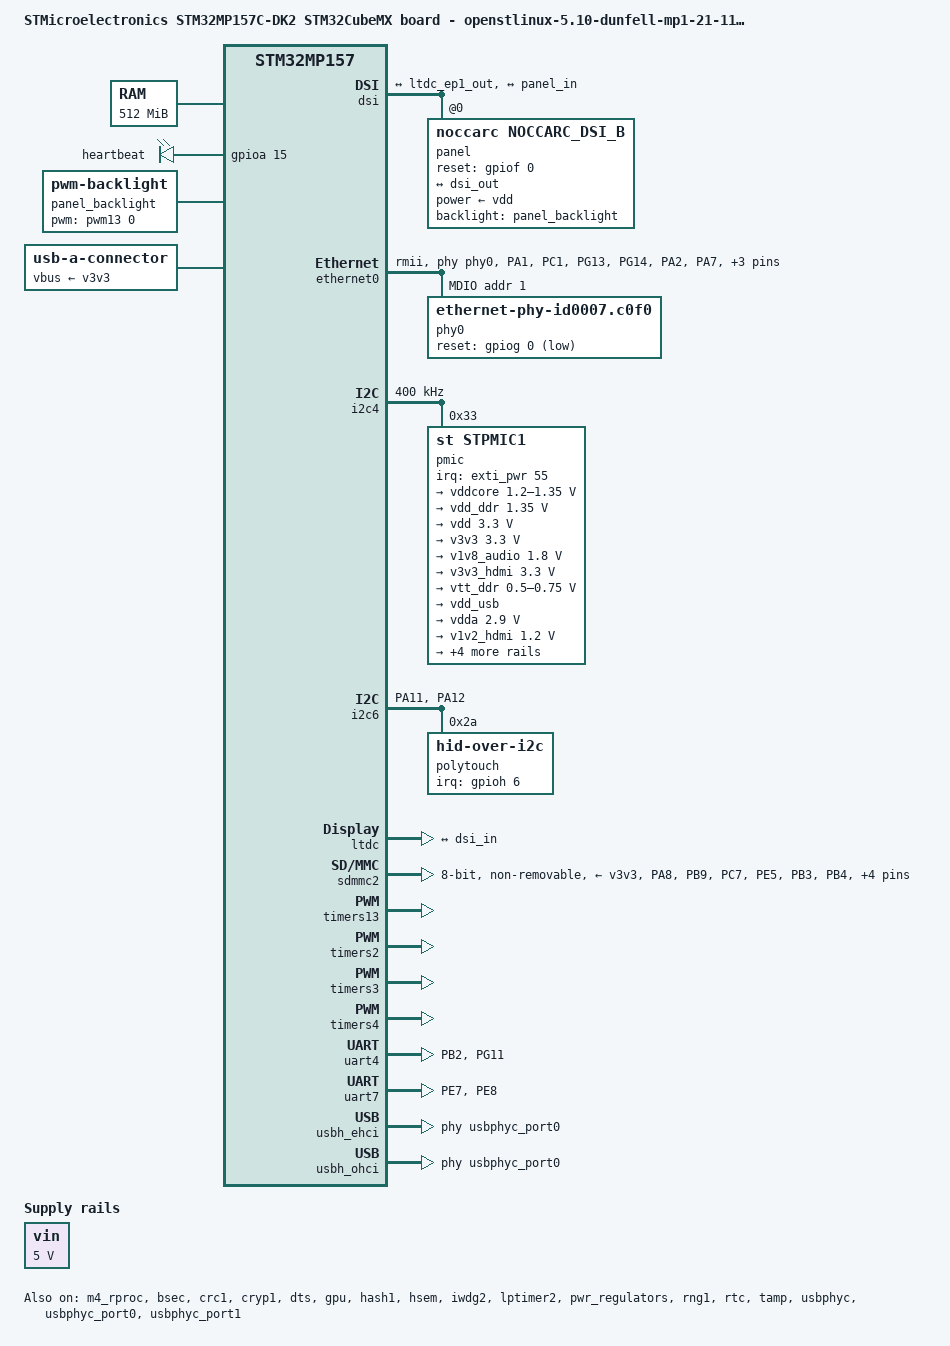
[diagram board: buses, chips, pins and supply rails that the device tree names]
/* SPDX-License-Identifier: (GPL-2.0+ OR BSD-3-Clause) */
/*
 * Copyright (C) STMicroelectronics 2022 - All Rights Reserved
 * Author: STM32CubeMX code generation for STMicroelectronics.
 */

/* For more information on Device Tree configuration, please refer to
 * https://wiki.st.com/stm32mpu/wiki/Category:Device_tree_configuration
 */

/dts-v1/;
#include <dt-bindings/pinctrl/stm32-pinfunc.h>

#include "stm32mp157.dtsi"
#include "stm32mp15xc.dtsi"
#include "stm32mp15xxac-pinctrl.dtsi"
#include "stm32mp15-m4-srm.dtsi"

/* USER CODE BEGIN includes */
#include <dt-bindings/gpio/gpio.h>
#include <dt-bindings/mfd/st,stpmic1.h>
#include <dt-bindings/rtc/rtc-stm32.h>
/* USER CODE END includes */

/ {
	model = "STMicroelectronics STM32MP157C-DK2 STM32CubeMX board - openstlinux-5.10-dunfell-mp1-21-11-17";
	compatible = "st,stm32mp157c-dk2", "st,stm32mp157c-v510_test-mx", "st,stm32mp157";

	memory@c0000000 {
		device_type = "memory";
		reg = <0xc0000000 0x20000000>;

		/* USER CODE BEGIN memory */
		/* USER CODE END memory */
	};

	reserved-memory {
		#address-cells = <1>;
		#size-cells = <1>;
		ranges;

		/* USER CODE BEGIN reserved-memory */

		mcuram2:mcuram2@10000000{
			compatible = "shared-dma-pool";
			reg = <0x10000000 0x40000>;
			no-map;
		};

		vdev0vring0:vdev0vring0@10040000{
			compatible = "shared-dma-pool";
			reg = <0x10040000 0x1000>;
			no-map;
		};

		vdev0vring1:vdev0vring1@10041000{
			compatible = "shared-dma-pool";
			reg = <0x10041000 0x1000>;
			no-map;
		};

		vdev0buffer:vdev0buffer@10042000{
			compatible = "shared-dma-pool";
			reg = <0x10042000 0x4000>;
			no-map;
		};

		mcu_rsc_table:mcu_rsc_table@10048000{
			compatible = "shared-dma-pool";
			reg = <0x10048000 0x8000>;
			no-map;
		};

		mcuram:mcuram@30000000{
			compatible = "shared-dma-pool";
			reg = <0x30000000 0x40000>;
			no-map;
		};

		retram:retram@38000000{
			compatible = "shared-dma-pool";
			reg = <0x38000000 0x10000>;
			no-map;
		};

		gpu_reserved:gpu@d4000000{
			reg = <0xd4000000 0x4000000>;
			no-map;
		};
		/* USER CODE END reserved-memory */
	};

	/* USER CODE BEGIN root */

	aliases{
		ethernet0 = &ethernet0;
		serial0 = &uart4;
		serial1 = &uart5;
		serial2 = &uart7;
	};

	led{
		compatible = "gpio-leds";

		led-blue{
			label = "heartbeat";
			gpios = <&gpioa 15 GPIO_ACTIVE_HIGH>;
			linux,default-trigger = "heartbeat";
			default-state = "on";
		};
	};
	
	panel_backlight: panel-backlight {
		compatible = "pwm-backlight";
		pwms = <&pwm13 0 500000>;	//2KHz backlit frequency
		brightness-levels = <0 1 2 3 4 5 6 7 8 9 10 11 12 13 14 15 16 17 18 19 20 21 22 23 24 25 26 27 28 29 30 31 32 33 34 35 36 37 38 39 40 41 42 43 44 45 46 47 48 49 50 51 52 53 54 55 56 57 58 59 60 61 62 63 64 65 66 67 68 69 70 71 72 73 74 75 76 77 78 79 80 81 82 83 84 85 86 87 88 89 90 91 92 93 94 95 96 97 98 99 100 101 102 103 104 105 106 107 108 109 110 111 112 113 114 115 116 117 118 119 120 121 122 123 124 125 126 127 128 129 130 131 132 133 134 135 136 137 138 139 140 141 142 143 144 145 146 147 148 149 150 151 152 153 154 155 156 157 158 159 160 161 162 163 164 165 166 167 168 169 170 171 172 173 174 175 176 177 178 179 180 181 182 183 184 185 186 187 188 189 190 191 192 193 194 195 196 197 198 199 200 201 202 203 204 205 206 207 208 209 210 211 212 213 214 215 216 217 218 219 220 221 222 223 224 225 226 227 228 229 230 231 232 233 234 235 236 237 238 239 240 241 242 243 244 245 246 247 248 249 250 251 252 253 254 255>;
		default-brightness-level = <250>;
		status = "okay";
	};

	usb_phy_tuning:usb-phy-tuning{
		st,hs-dc-level = <2>;
		st,fs-rftime-tuning;
		st,hs-rftime-reduction;
		st,hs-current-trim = <15>;
		st,hs-impedance-trim = <1>;
		st,squelch-level = <3>;
		st,hs-rx-offset = <2>;
		st,no-lsfs-sc;
	};

	vin:vin{
		compatible = "regulator-fixed";
		regulator-name = "vin";
		regulator-min-microvolt = <5000000>;
		regulator-max-microvolt = <5000000>;
		regulator-always-on;
	};

	chosen{
		stdout-path = "serial0:115200n8";
	};

	/* USER CODE END root */

	clocks {
		/* USER CODE BEGIN clocks */
		/* USER CODE END clocks */

#ifndef CONFIG_TFABOOT
		clk_lsi: clk-lsi {
			clock-frequency = <32000>;
		};
		clk_hsi: clk-hsi {
			clock-frequency = <64000000>;
		};
		clk_csi: clk-csi {
			clock-frequency = <4000000>;
		};
		clk_lse: clk-lse {
			clock-frequency = <32768>;
		};
		clk_hse: clk-hse {
			clock-frequency = <24000000>;
		};
#endif	/*CONFIG_TFABOOT*/
	};

}; /*root*/

&pinctrl {
	u-boot,dm-pre-reloc;

	dcmi_pins_mx: dcmi_mx-0 {
		pins {
			pinmux = <STM32_PINMUX('C', 2, AF13)>, /* DCMI_PIXCLK */
					 <STM32_PINMUX('D', 3, AF13)>, /* DCMI_D5 */
					 <STM32_PINMUX('D', 6, AF13)>, /* DCMI_D10 */
					 <STM32_PINMUX('E', 11, AF13)>, /* DCMI_D4 */
					 <STM32_PINMUX('H', 8, AF13)>, /* DCMI_HSYNC */
					 <STM32_PINMUX('H', 9, AF13)>, /* DCMI_D0 */
					 <STM32_PINMUX('H', 10, AF13)>, /* DCMI_D1 */
					 <STM32_PINMUX('H', 11, AF13)>, /* DCMI_D2 */
					 <STM32_PINMUX('H', 12, AF13)>, /* DCMI_D3 */
					 <STM32_PINMUX('H', 15, AF13)>, /* DCMI_D11 */
					 <STM32_PINMUX('I', 1, AF13)>, /* DCMI_D8 */
					 <STM32_PINMUX('I', 2, AF13)>, /* DCMI_D9 */
					 <STM32_PINMUX('I', 5, AF13)>, /* DCMI_VSYNC */
					 <STM32_PINMUX('I', 6, AF13)>, /* DCMI_D6 */
					 <STM32_PINMUX('I', 7, AF13)>; /* DCMI_D7 */
			bias-disable;
		};
	};

	dcmi_sleep_pins_mx: dcmi_sleep_mx-0 {
		pins {
			pinmux = <STM32_PINMUX('C', 2, ANALOG)>, /* DCMI_PIXCLK */
					 <STM32_PINMUX('D', 3, ANALOG)>, /* DCMI_D5 */
					 <STM32_PINMUX('D', 6, ANALOG)>, /* DCMI_D10 */
					 <STM32_PINMUX('E', 11, ANALOG)>, /* DCMI_D4 */
					 <STM32_PINMUX('H', 8, ANALOG)>, /* DCMI_HSYNC */
					 <STM32_PINMUX('H', 9, ANALOG)>, /* DCMI_D0 */
					 <STM32_PINMUX('H', 10, ANALOG)>, /* DCMI_D1 */
					 <STM32_PINMUX('H', 11, ANALOG)>, /* DCMI_D2 */
					 <STM32_PINMUX('H', 12, ANALOG)>, /* DCMI_D3 */
					 <STM32_PINMUX('H', 15, ANALOG)>, /* DCMI_D11 */
					 <STM32_PINMUX('I', 1, ANALOG)>, /* DCMI_D8 */
					 <STM32_PINMUX('I', 2, ANALOG)>, /* DCMI_D9 */
					 <STM32_PINMUX('I', 5, ANALOG)>, /* DCMI_VSYNC */
					 <STM32_PINMUX('I', 6, ANALOG)>, /* DCMI_D6 */
					 <STM32_PINMUX('I', 7, ANALOG)>; /* DCMI_D7 */
		};
	};

	eth1_pins_mx: eth1_mx-0 {
		pins1 {
			pinmux = <STM32_PINMUX('A', 1, AF11)>, /* ETH1_REF_CLK */
					 <STM32_PINMUX('C', 1, AF11)>, /* ETH1_MDC */
					 <STM32_PINMUX('G', 13, AF11)>, /* ETH1_TXD0 */
					 <STM32_PINMUX('G', 14, AF11)>; /* ETH1_TXD1 */
			bias-disable;
			drive-push-pull;
			slew-rate = <1>;
		};
		pins2 {
			pinmux = <STM32_PINMUX('A', 2, AF11)>; /* ETH1_MDIO */
			bias-disable;
			drive-push-pull;
			slew-rate = <0>;
		};
		pins3 {
			pinmux = <STM32_PINMUX('A', 7, AF11)>, /* ETH1_CRS_DV */
					 <STM32_PINMUX('C', 4, AF11)>, /* ETH1_RXD0 */
					 <STM32_PINMUX('C', 5, AF11)>; /* ETH1_RXD1 */
			bias-disable;
		};
		pins4 {
			pinmux = <STM32_PINMUX('B', 11, AF11)>; /* ETH1_TX_EN */
		};
	};

	eth1_sleep_pins_mx: eth1_sleep_mx-0 {
		pins {
			pinmux = <STM32_PINMUX('A', 1, ANALOG)>, /* ETH1_REF_CLK */
					 <STM32_PINMUX('A', 2, ANALOG)>, /* ETH1_MDIO */
					 <STM32_PINMUX('A', 7, ANALOG)>, /* ETH1_CRS_DV */
					 <STM32_PINMUX('B', 11, ANALOG)>, /* ETH1_TX_EN */
					 <STM32_PINMUX('C', 1, ANALOG)>, /* ETH1_MDC */
					 <STM32_PINMUX('C', 4, ANALOG)>, /* ETH1_RXD0 */
					 <STM32_PINMUX('C', 5, ANALOG)>, /* ETH1_RXD1 */
					 <STM32_PINMUX('G', 13, ANALOG)>, /* ETH1_TXD0 */
					 <STM32_PINMUX('G', 14, ANALOG)>; /* ETH1_TXD1 */
		};
	};

	i2c6_pins_mx: i2c6_mx-0 {
		u-boot,dm-pre-reloc;
		pins {
			u-boot,dm-pre-reloc;
			pinmux = <STM32_PINMUX('A', 11, AF2)>, /* I2C6_SCL */
					 <STM32_PINMUX('A', 12, AF2)>; /* I2C6_SDA */
			bias-disable;
			drive-open-drain;
			slew-rate = <0>;
		};
	};

	i2c6_sleep_pins_mx: i2c6_sleep_mx-0 {
		u-boot,dm-pre-reloc;
		pins {
			u-boot,dm-pre-reloc;
			pinmux = <STM32_PINMUX('A', 11, ANALOG)>, /* I2C6_SCL */
					 <STM32_PINMUX('A', 12, ANALOG)>; /* I2C6_SDA */
		};
	};

	lptim2_counter_pins_mx: lptim2_counter_mx-0 {
		pins {
			pinmux = <STM32_PINMUX('D', 11, AF3)>, /* LPTIM2_IN2 */
					 <STM32_PINMUX('D', 12, AF3)>; /* LPTIM2_IN1 */
			bias-disable;
		};
	};

	lptim2_counter_sleep_pins_mx: lptim2_counter_sleep_mx-0 {
		pins {
			pinmux = <STM32_PINMUX('D', 11, ANALOG)>, /* LPTIM2_IN2 */
					 <STM32_PINMUX('D', 12, ANALOG)>; /* LPTIM2_IN1 */
		};
	};

	rtc_pins_mx: rtc_mx-0 {
		pins {
			pinmux = <STM32_PINMUX('I', 8, ANALOG)>; /* RTC_LSCO */
		};
	};

	rtc_sleep_pins_mx: rtc_sleep_mx-0 {
		pins {
			pinmux = <STM32_PINMUX('I', 8, ANALOG)>; /* RTC_LSCO */
		};
	};

	sai2b_pins_mx: sai2b_mx-0 {
		pins {
			pinmux = <STM32_PINMUX('C', 0, AF8)>, /* SAI2_FS_B */
					 <STM32_PINMUX('G', 10, AF10)>, /* SAI2_SD_B */
					 <STM32_PINMUX('H', 2, AF10)>; /* SAI2_SCK_B */
			bias-disable;
			drive-push-pull;
			slew-rate = <0>;
		};
	};

	sai2b_sleep_pins_mx: sai2b_sleep_mx-0 {
		pins {
			pinmux = <STM32_PINMUX('C', 0, ANALOG)>, /* SAI2_FS_B */
					 <STM32_PINMUX('G', 10, ANALOG)>, /* SAI2_SD_B */
					 <STM32_PINMUX('H', 2, ANALOG)>; /* SAI2_SCK_B */
		};
	};

	sdmmc1_pins_mx: sdmmc1_mx-0 {
		u-boot,dm-pre-reloc;
		pins1 {
			u-boot,dm-pre-reloc;
			pinmux = <STM32_PINMUX('C', 8, AF12)>, /* SDMMC1_D0 */
					 <STM32_PINMUX('C', 9, AF12)>, /* SDMMC1_D1 */
					 <STM32_PINMUX('C', 10, AF12)>, /* SDMMC1_D2 */
					 <STM32_PINMUX('C', 11, AF12)>, /* SDMMC1_D3 */
					 <STM32_PINMUX('D', 2, AF12)>; /* SDMMC1_CMD */
			bias-disable;
			drive-push-pull;
			slew-rate = <1>;
		};
		pins2 {
			u-boot,dm-pre-reloc;
			pinmux = <STM32_PINMUX('C', 12, AF12)>; /* SDMMC1_CK */
			bias-disable;
			drive-push-pull;
			slew-rate = <2>;
		};
	};

	sdmmc1_opendrain_pins_mx: sdmmc1_opendrain_mx-0 {
		u-boot,dm-pre-reloc;
		pins1 {
			u-boot,dm-pre-reloc;
			pinmux = <STM32_PINMUX('C', 8, AF12)>, /* SDMMC1_D0 */
					 <STM32_PINMUX('C', 9, AF12)>, /* SDMMC1_D1 */
					 <STM32_PINMUX('C', 10, AF12)>, /* SDMMC1_D2 */
					 <STM32_PINMUX('C', 11, AF12)>; /* SDMMC1_D3 */
			bias-disable;
			drive-push-pull;
			slew-rate = <1>;
		};
		pins2 {
			u-boot,dm-pre-reloc;
			pinmux = <STM32_PINMUX('C', 12, AF12)>; /* SDMMC1_CK */
			bias-disable;
			drive-push-pull;
			slew-rate = <2>;
		};
		pins3 {
			u-boot,dm-pre-reloc;
			pinmux = <STM32_PINMUX('D', 2, AF12)>; /* SDMMC1_CMD */
			bias-disable;
			drive-open-drain;
			slew-rate = <1>;
		};
	};

	sdmmc1_sleep_pins_mx: sdmmc1_sleep_mx-0 {
		u-boot,dm-pre-reloc;
		pins {
			u-boot,dm-pre-reloc;
			pinmux = <STM32_PINMUX('C', 8, ANALOG)>, /* SDMMC1_D0 */
					 <STM32_PINMUX('C', 9, ANALOG)>, /* SDMMC1_D1 */
					 <STM32_PINMUX('C', 10, ANALOG)>, /* SDMMC1_D2 */
					 <STM32_PINMUX('C', 11, ANALOG)>, /* SDMMC1_D3 */
					 <STM32_PINMUX('C', 12, ANALOG)>, /* SDMMC1_CK */
					 <STM32_PINMUX('D', 2, ANALOG)>; /* SDMMC1_CMD */
		};
	};

	sdmmc2_pins_mx: sdmmc2_mx-0 {
		u-boot,dm-pre-reloc;
		pins1 {
			u-boot,dm-pre-reloc;
			pinmux = <STM32_PINMUX('A', 8, AF9)>, /* SDMMC2_D4 */
					 <STM32_PINMUX('B', 9, AF10)>, /* SDMMC2_D5 */
					 <STM32_PINMUX('C', 7, AF10)>, /* SDMMC2_D7 */
					 <STM32_PINMUX('E', 5, AF9)>; /* SDMMC2_D6 */
			bias-disable;
			drive-push-pull;
			slew-rate = <1>;
		};
		pins2 {
			u-boot,dm-pre-reloc;
			pinmux = <STM32_PINMUX('B', 3, AF9)>, /* SDMMC2_D2 */
					 <STM32_PINMUX('B', 4, AF9)>, /* SDMMC2_D3 */
					 <STM32_PINMUX('B', 14, AF9)>, /* SDMMC2_D0 */
					 <STM32_PINMUX('B', 15, AF9)>, /* SDMMC2_D1 */
					 <STM32_PINMUX('G', 6, AF10)>; /* SDMMC2_CMD */
			bias-pull-up;
			drive-push-pull;
			slew-rate = <1>;
		};
		pins3 {
			u-boot,dm-pre-reloc;
			pinmux = <STM32_PINMUX('E', 3, AF9)>; /* SDMMC2_CK */
			bias-pull-up;
			drive-push-pull;
			slew-rate = <2>;
		};
	};

	sdmmc2_opendrain_pins_mx: sdmmc2_opendrain_mx-0 {
		u-boot,dm-pre-reloc;
		pins1 {
			u-boot,dm-pre-reloc;
			pinmux = <STM32_PINMUX('A', 8, AF9)>, /* SDMMC2_D4 */
					 <STM32_PINMUX('B', 9, AF10)>, /* SDMMC2_D5 */
					 <STM32_PINMUX('C', 7, AF10)>, /* SDMMC2_D7 */
					 <STM32_PINMUX('E', 5, AF9)>; /* SDMMC2_D6 */
			bias-disable;
			drive-push-pull;
			slew-rate = <1>;
		};
		pins2 {
			u-boot,dm-pre-reloc;
			pinmux = <STM32_PINMUX('B', 3, AF9)>, /* SDMMC2_D2 */
					 <STM32_PINMUX('B', 4, AF9)>, /* SDMMC2_D3 */
					 <STM32_PINMUX('B', 14, AF9)>, /* SDMMC2_D0 */
					 <STM32_PINMUX('B', 15, AF9)>; /* SDMMC2_D1 */
			bias-pull-up;
			drive-push-pull;
			slew-rate = <1>;
		};
		pins3 {
			u-boot,dm-pre-reloc;
			pinmux = <STM32_PINMUX('E', 3, AF9)>; /* SDMMC2_CK */
			bias-pull-up;
			drive-push-pull;
			slew-rate = <2>;
		};
		pins4 {
			u-boot,dm-pre-reloc;
			pinmux = <STM32_PINMUX('G', 6, AF10)>; /* SDMMC2_CMD */
			bias-pull-up;
			drive-open-drain;
			slew-rate = <1>;
		};
	};

	sdmmc2_sleep_pins_mx: sdmmc2_sleep_mx-0 {
		u-boot,dm-pre-reloc;
		pins {
			u-boot,dm-pre-reloc;
			pinmux = <STM32_PINMUX('A', 8, ANALOG)>, /* SDMMC2_D4 */
					 <STM32_PINMUX('B', 3, ANALOG)>, /* SDMMC2_D2 */
					 <STM32_PINMUX('B', 4, ANALOG)>, /* SDMMC2_D3 */
					 <STM32_PINMUX('B', 9, ANALOG)>, /* SDMMC2_D5 */
					 <STM32_PINMUX('B', 14, ANALOG)>, /* SDMMC2_D0 */
					 <STM32_PINMUX('B', 15, ANALOG)>, /* SDMMC2_D1 */
					 <STM32_PINMUX('C', 7, ANALOG)>, /* SDMMC2_D7 */
					 <STM32_PINMUX('E', 3, ANALOG)>, /* SDMMC2_CK */
					 <STM32_PINMUX('E', 5, ANALOG)>, /* SDMMC2_D6 */
					 <STM32_PINMUX('G', 6, ANALOG)>; /* SDMMC2_CMD */
		};
	};

	spi5_pins_mx: spi5_mx-0 {
		pins {
			pinmux = <STM32_PINMUX('F', 9, AF5)>, /* SPI5_MOSI */
					 <STM32_PINMUX('H', 6, AF5)>, /* SPI5_SCK */
					 <STM32_PINMUX('H', 7, AF5)>; /* SPI5_MISO */
			bias-disable;
			drive-push-pull;
			slew-rate = <1>;
		};
	};

	spi5_sleep_pins_mx: spi5_sleep_mx-0 {
		pins {
			pinmux = <STM32_PINMUX('F', 9, ANALOG)>, /* SPI5_MOSI */
					 <STM32_PINMUX('H', 6, ANALOG)>, /* SPI5_SCK */
					 <STM32_PINMUX('H', 7, ANALOG)>; /* SPI5_MISO */
		};
	};

	tim13_pwm_pins_mx: tim13_pwm_mx-0 {
		pins {
			pinmux = <STM32_PINMUX('F', 8, AF9)>; /* TIM13_CH1 */
			bias-disable;
			drive-push-pull;
			slew-rate = <0>;
		};
	};

	tim13_pwm_sleep_pins_mx: tim13_pwm_sleep_mx-0 {
		pins {
			pinmux = <STM32_PINMUX('F', 8, ANALOG)>; /* TIM13_CH1 */
		};
	};

	tim2_pwm_pins_mx: tim2_pwm_mx-0 {
		pins {
			pinmux = <STM32_PINMUX('G', 8, AF1)>; /* TIM2_CH1 */
			bias-disable;
			drive-push-pull;
			slew-rate = <0>;
		};
	};

	tim2_pwm_sleep_pins_mx: tim2_pwm_sleep_mx-0 {
		pins {
			pinmux = <STM32_PINMUX('G', 8, ANALOG)>; /* TIM2_CH1 */
		};
	};

	tim3_pwm_pins_mx: tim3_pwm_mx-0 {
		pins {
			pinmux = <STM32_PINMUX('A', 6, AF2)>; /* TIM3_CH1 */
			bias-disable;
			drive-push-pull;
			slew-rate = <0>;
		};
	};

	tim3_pwm_sleep_pins_mx: tim3_pwm_sleep_mx-0 {
		pins {
			pinmux = <STM32_PINMUX('A', 6, ANALOG)>; /* TIM3_CH1 */
		};
	};

	tim4_pwm_pins_mx: tim4_pwm_mx-0 {
		pins {
			pinmux = <STM32_PINMUX('B', 8, AF2)>; /* TIM4_CH3 */
			bias-disable;
			drive-push-pull;
			slew-rate = <0>;
		};
	};

	tim4_pwm_sleep_pins_mx: tim4_pwm_sleep_mx-0 {
		pins {
			pinmux = <STM32_PINMUX('B', 8, ANALOG)>; /* TIM4_CH3 */
		};
	};

	uart4_pins_mx: uart4_mx-0 {
		u-boot,dm-pre-reloc;
		pins1 {
			u-boot,dm-pre-reloc;
			pinmux = <STM32_PINMUX('B', 2, AF8)>; /* UART4_RX */
			bias-disable;
		};
		pins2 {
			u-boot,dm-pre-reloc;
			pinmux = <STM32_PINMUX('G', 11, AF6)>; /* UART4_TX */
			bias-disable;
			drive-push-pull;
			slew-rate = <0>;
		};
	};

	uart4_sleep_pins_mx: uart4_sleep_mx-0 {
		u-boot,dm-pre-reloc;
		pins {
			u-boot,dm-pre-reloc;
			pinmux = <STM32_PINMUX('B', 2, ANALOG)>, /* UART4_RX */
					 <STM32_PINMUX('G', 11, ANALOG)>; /* UART4_TX */
		};
	};

	uart5_pins_mx: uart5_mx-0 {
		pins1 {
			pinmux = <STM32_PINMUX('B', 5, AF12)>; /* UART5_RX */
			bias-disable;
		};
		pins2 {
			pinmux = <STM32_PINMUX('B', 6, AF12)>; /* UART5_TX */
			bias-disable;
			drive-push-pull;
			slew-rate = <0>;
		};
	};

	uart5_sleep_pins_mx: uart5_sleep_mx-0 {
		pins {
			pinmux = <STM32_PINMUX('B', 5, ANALOG)>, /* UART5_RX */
					 <STM32_PINMUX('B', 6, ANALOG)>; /* UART5_TX */
		};
	};

	uart7_pins_mx: uart7_mx-0 {
		pins1 {
			pinmux = <STM32_PINMUX('E', 7, AF7)>; /* UART7_RX */
			bias-disable;
		};
		pins2 {
			pinmux = <STM32_PINMUX('E', 8, AF7)>; /* UART7_TX */
			bias-disable;
			drive-push-pull;
			slew-rate = <0>;
		};
	};

	uart7_sleep_pins_mx: uart7_sleep_mx-0 {
		pins {
			pinmux = <STM32_PINMUX('E', 7, ANALOG)>, /* UART7_RX */
					 <STM32_PINMUX('E', 8, ANALOG)>; /* UART7_TX */
		};
	};

	/* USER CODE BEGIN pinctrl */
	eegalax_pins_a: eegalax-0 {
		pins {
			pinmux = <STM32_PINMUX('H', 6, GPIO)>;
			bias-disable;
			drive-push-pull;
			slew-rate = <0>;
		};
	};
	/* USER CODE END pinctrl */
};

&pinctrl_z {
	u-boot,dm-pre-reloc;

	i2c4_pins_z_mx: i2c4_mx-0 {
		u-boot,dm-pre-reloc;
		pins {
			u-boot,dm-pre-reloc;
			pinmux = <STM32_PINMUX('Z', 4, AF6)>, /* I2C4_SCL */
					 <STM32_PINMUX('Z', 5, AF6)>; /* I2C4_SDA */
			bias-disable;
			drive-open-drain;
			slew-rate = <0>;
		};
	};

	i2c4_sleep_pins_z_mx: i2c4_sleep_mx-0 {
		u-boot,dm-pre-reloc;
		pins {
			u-boot,dm-pre-reloc;
			pinmux = <STM32_PINMUX('Z', 4, ANALOG)>, /* I2C4_SCL */
					 <STM32_PINMUX('Z', 5, ANALOG)>; /* I2C4_SDA */
		};
	};

	/* USER CODE BEGIN pinctrl_z */
	/* USER CODE END pinctrl_z */
};

&m4_rproc{
	/*Restriction: "memory-region" property is not managed - please to use User-Section if needed*/
	mboxes = <&ipcc 0>, <&ipcc 1>, <&ipcc 2>;
	mbox-names = "vq0", "vq1", "shutdown";
	status = "okay";

	/* USER CODE BEGIN m4_rproc */
	memory-region = <&retram>, <&mcuram>, <&mcuram2>, <&vdev0vring0>,
			<&vdev0vring1>, <&vdev0buffer>, <&mcu_rsc_table>;
	interrupt-parent = <&exti>;
	interrupts = <68 1>;
	wakeup-source;
	/* USER CODE END m4_rproc */
};

&bsec{
	status = "okay";

	/* USER CODE BEGIN bsec */
	/* USER CODE END bsec */
};

&crc1{
	status = "okay";

	/* USER CODE BEGIN crc1 */
	/* USER CODE END crc1 */
};

&cryp1{
	u-boot,dm-pre-reloc;
	status = "okay";

	/* USER CODE BEGIN cryp1 */
	/* USER CODE END cryp1 */
};

&dcmi{
	pinctrl-names = "default", "sleep";
	pinctrl-0 = <&dcmi_pins_mx>;
	pinctrl-1 = <&dcmi_sleep_pins_mx>;
	status = "disabled";

	/* USER CODE BEGIN dcmi */
	/* USER CODE END dcmi */
};

&dma1{
	status = "okay";

	/* USER CODE BEGIN dma1 */
	sram = <&dma_pool>;
	/* USER CODE END dma1 */
};

&dma2{
	status = "okay";

	/* USER CODE BEGIN dma2 */
	sram = <&dma_pool>;
	/* USER CODE END dma2 */
};

&dmamux1{
	status = "okay";

	dma-masters = <&dma1 &dma2>;
	dma-channels = <16>;

	/* USER CODE BEGIN dmamux1 */
	/* USER CODE END dmamux1 */
};

&dsi{

    #address-cells = <1>;
	#size-cells = <0>;
	status = "okay";

	/* USER CODE BEGIN dsi */

	ports{
	
	    #address-cells = <1>;
	    #size-cells = <0>;

		port@0{
			reg = <0>;

			dsi_in:endpoint{
				remote-endpoint = <&ltdc_ep1_out>;
			};
		};

		port@1{
			reg = <1>;

			dsi_out:endpoint{
				remote-endpoint = <&panel_in>;
			};
		};
	};

	panel@0 {
		compatible = "noccarc,noccarc_dsi_b";
		reg = <0>;
		backlight = <&panel_backlight>;
		reset-gpios = <&gpiof 0 GPIO_ACTIVE_HIGH>;
		power-supply = <&vdd>;
		status = "okay";
		port {
			panel_in: endpoint {
				remote-endpoint = <&dsi_out>;
			};
		};
	};
	
	/* USER CODE END dsi */
};


&dts{
	status = "okay";

	/* USER CODE BEGIN dts */
	/* USER CODE END dts */
};

&ethernet0{
	pinctrl-names = "default", "sleep";
	pinctrl-0 = <&eth1_pins_mx>;
	pinctrl-1 = <&eth1_sleep_pins_mx>;
	status = "okay";

	/* USER CODE BEGIN ethernet0 */
	phy-mode = "rmii";
	max-speed = <100>;
	phy-handle = <&phy0>;
	st,ext-phyclk;
	mdio0 {
		#address-cells = <1>;
		#size-cells = <0>;
		compatible = "snps,dwmac-mdio";

		phy0: ethernet-phy@1 {
			reg = <1>;
			/* LAN8710Ai */
			compatible = "ethernet-phy-id0007.c0f0",
				     "ethernet-phy-ieee802.3-c22";
			reset-gpios = <&gpiog 0 GPIO_ACTIVE_LOW>;
			reset-assert-us = <1000>;
			reset-deassert-us = <1000>;
			smsc,disable-energy-detect;
			status="okay";
		};
	};
	/* USER CODE END ethernet0 */
};

&gpu{
	status = "okay";

	/* USER CODE BEGIN gpu */
	contiguous-area = <&gpu_reserved>;
	/* USER CODE END gpu */
};

&hash1{
	u-boot,dm-pre-reloc;
	status = "okay";

	/* USER CODE BEGIN hash1 */
	/* USER CODE END hash1 */
};

&hsem{
	status = "okay";

	/* USER CODE BEGIN hsem */
	/* USER CODE END hsem */
};

&i2c4{
	u-boot,dm-pre-reloc;
	pinctrl-names = "default", "sleep";
	pinctrl-0 = <&i2c4_pins_z_mx>;
	pinctrl-1 = <&i2c4_sleep_pins_z_mx>;
	status = "okay";

	/* USER CODE BEGIN i2c4 */
	i2c-scl-rising-time-ns = <185>;
	i2c-scl-falling-time-ns = <20>;
	clock-frequency = <400000>;
	/delete-property/ dmas;
	/delete-property/ dma-names;

	pmic:stpmic@33{
		compatible = "st,stpmic1";
		reg = <0x33>;
		interrupts-extended = <&exti_pwr 55 IRQ_TYPE_EDGE_FALLING>;
		interrupt-controller;
		#interrupt-cells = <2>;
		status = "okay";

		regulators{
			compatible = "st,stpmic1-regulators";
			buck1-supply = <&vin>;
			buck2-supply = <&vin>;
			buck3-supply = <&vin>;
			buck4-supply = <&vin>;
			ldo1-supply = <&v3v3>;
			ldo2-supply = <&vin>;
			ldo3-supply = <&vdd_ddr>;
			ldo4-supply = <&vin>;
			ldo5-supply = <&vin>;
			ldo6-supply = <&v3v3>;
			vref_ddr-supply = <&vin>;
			boost-supply = <&vin>;
			pwr_sw1-supply = <&bst_out>;
			pwr_sw2-supply = <&bst_out>;

			vddcore:buck1{
				regulator-name = "vddcore";
				regulator-min-microvolt = <1200000>;
				regulator-max-microvolt = <1350000>;
				regulator-always-on;
				regulator-initial-mode = <0>;
				regulator-over-current-protection;
			};

			vdd_ddr:buck2{
				regulator-name = "vdd_ddr";
				regulator-min-microvolt = <1350000>;
				regulator-max-microvolt = <1350000>;
				regulator-always-on;
				regulator-initial-mode = <0>;
				regulator-over-current-protection;
			};

			vdd:buck3{
				regulator-name = "vdd";
				regulator-min-microvolt = <3300000>;
				regulator-max-microvolt = <3300000>;
				regulator-always-on;
				st,mask-reset;
				regulator-initial-mode = <0>;
				regulator-over-current-protection;
			};

			v3v3:buck4{
				regulator-name = "v3v3";
				regulator-min-microvolt = <3300000>;
				regulator-max-microvolt = <3300000>;
				regulator-always-on;
				regulator-over-current-protection;
				regulator-initial-mode = <0>;
			};

			v1v8_audio:ldo1{
				regulator-name = "v1v8_audio";
				regulator-min-microvolt = <1800000>;
				regulator-max-microvolt = <1800000>;
				regulator-always-on;
				interrupts = <IT_CURLIM_LDO1 0>;
			};

			v3v3_hdmi:ldo2{
				regulator-name = "v3v3_hdmi";
				regulator-min-microvolt = <3300000>;
				regulator-max-microvolt = <3300000>;
				regulator-always-on;
				interrupts = <IT_CURLIM_LDO2 0>;
			};

			vtt_ddr:ldo3{
				regulator-name = "vtt_ddr";
				regulator-min-microvolt = <500000>;
				regulator-max-microvolt = <750000>;
				regulator-always-on;
				regulator-over-current-protection;
			};

			vdd_usb:ldo4{
				regulator-name = "vdd_usb";
				interrupts = <IT_CURLIM_LDO4 0>;
			};

			vdda:ldo5{
				regulator-name = "vdda";
				regulator-min-microvolt = <2900000>;
				regulator-max-microvolt = <2900000>;
				interrupts = <IT_CURLIM_LDO5 0>;
				regulator-boot-on;
			};

			v1v2_hdmi:ldo6{
				regulator-name = "v1v2_hdmi";
				regulator-min-microvolt = <1200000>;
				regulator-max-microvolt = <1200000>;
				regulator-always-on;
				interrupts = <IT_CURLIM_LDO6 0>;
			};

			vref_ddr:vref_ddr{
				regulator-name = "vref_ddr";
				regulator-always-on;
				regulator-over-current-protection;
			};

			bst_out:boost{
				regulator-name = "bst_out";
				interrupts = <IT_OCP_BOOST 0>;
			};

			vbus_otg:pwr_sw1{
				regulator-name = "vbus_otg";
				interrupts = <IT_OCP_OTG 0>;
			};

			vbus_sw:pwr_sw2{
				regulator-name = "vbus_sw";
				interrupts = <IT_OCP_SWOUT 0>;
				regulator-active-discharge = <1>;
			};
		};

		onkey{
			compatible = "st,stpmic1-onkey";
			interrupts = <IT_PONKEY_F 0>, <IT_PONKEY_R 0>;
			interrupt-names = "onkey-falling", "onkey-rising";
			power-off-time-sec = <10>;
			status = "okay";
		};

		watchdog{
			compatible = "st,stpmic1-wdt";
			status = "disabled";
		};
	};
	/* USER CODE END i2c4 */
};

&i2c6{
	u-boot,dm-pre-reloc;
	pinctrl-names = "default", "sleep";
	pinctrl-0 = <&i2c6_pins_mx>;
	pinctrl-1 = <&i2c6_sleep_pins_mx>;
	status = "okay";

	/* USER CODE BEGIN i2c6 */
	polytouch: eegalax-ts@2a {
			compatible = "hid-over-i2c";
			reg = <0x2a>;
			hid-descr-addr = <0x000f>;
			pinctrl-names = "default";
			pinctrl-0 = <&eegalax_pins_a>;
			interrupt-parent = <&gpioh>;
			interrupts = <6 IRQ_TYPE_LEVEL_LOW>;
			//wakeup-gpios = <&gpiod 15 GPIO_ACTIVE_HIGH>;

			touchscreen-size-x = <1024>;
			touchscreen-size-y = <768>;
			touchscreen-inverted-x;
			touchscreen-inverted-y;
			status="okay";
	};
	/* USER CODE END i2c6 */
};

&ipcc{
	status = "okay";

	/* USER CODE BEGIN ipcc */
	/* USER CODE END ipcc */
};

&iwdg2{
	u-boot,dm-pre-reloc;
	status = "okay";

	/* USER CODE BEGIN iwdg2 */
	timeout-sec = <32>;
	/* USER CODE END iwdg2 */
};

&lptimer2{
	status = "okay";

	/* USER CODE BEGIN lptimer2 */
	/* USER CODE END lptimer2 */

	counter{
		pinctrl-names = "default", "sleep";
		pinctrl-0 = <&lptim2_counter_pins_mx>;
		pinctrl-1 = <&lptim2_counter_sleep_pins_mx>;
		status = "okay";

		/* USER CODE BEGIN lptimer2_counter */
		/* USER CODE END lptimer2_counter */
	};
};

&ltdc{
	status = "okay";

	/* USER CODE BEGIN ltdc */

	port{

        #address-cells = <1>;
		#size-cells = <0>;
		
		ltdc_ep1_out:endpoint@0{
			reg = <0>;
			remote-endpoint = <&dsi_in>;
		};
	};
	/* USER CODE END ltdc */
};

&mdma1{
	status = "okay";

	/* USER CODE BEGIN mdma1 */
	/* USER CODE END mdma1 */
};

&pwr_regulators{
	status = "okay";

	/* USER CODE BEGIN pwr_regulators */
	vdd-supply = <&vdd>;
	vdd_3v3_usbfs-supply = <&vdd_usb>;
	/* USER CODE END pwr_regulators */
};

&rcc{
	u-boot,dm-pre-reloc;
	status = "okay";

	/* USER CODE BEGIN rcc */
	/* USER CODE END rcc */
};

&rng1{
	status = "okay";

	/* USER CODE BEGIN rng1 */
	/* USER CODE END rng1 */
};

&rtc{
	pinctrl-names = "default", "sleep";
	pinctrl-0 = <&rtc_pins_mx>;
	pinctrl-1 = <&rtc_sleep_pins_mx>;
	status = "okay";

	/* USER CODE BEGIN rtc */
	st,lsco = <RTC_OUT2_RMP>;
	/* USER CODE END rtc */
};

&sai2{
	pinctrl-names = "default", "sleep";
	pinctrl-0 = <&sai2b_pins_mx>;
	pinctrl-1 = <&sai2b_sleep_pins_mx>;
	status = "disabled";

	/* USER CODE BEGIN sai2 */
	/* USER CODE END sai2 */

	sai2b:audio-controller@4400b024{
		status = "okay";

		/* USER CODE BEGIN sai2b */
		/* USER CODE END sai2b */
	};
};

&sdmmc1{
	u-boot,dm-pre-reloc;
	pinctrl-names = "default", "opendrain", "sleep";
	pinctrl-0 = <&sdmmc1_pins_mx>;
	pinctrl-1 = <&sdmmc1_opendrain_pins_mx>;
	pinctrl-2 = <&sdmmc1_sleep_pins_mx>;
	status = "disabled";

	/* USER CODE BEGIN sdmmc1 */
	broken-cd;
	disable-wp;
	st,neg-edge;
	bus-width = <4>;
	vmmc-supply = <&v3v3>;
	/* USER CODE END sdmmc1 */
};

&sdmmc2{
	u-boot,dm-pre-reloc;
	pinctrl-names = "default", "opendrain", "sleep";
	pinctrl-0 = <&sdmmc2_pins_mx>;
	pinctrl-1 = <&sdmmc2_opendrain_pins_mx>;
	pinctrl-2 = <&sdmmc2_sleep_pins_mx>;
	status = "okay";

	/* USER CODE BEGIN sdmmc2 */
	non-removable;
	no-sd;
	no-sdio;
	mmc-ddr-3_3v;
	st,neg-edge;
	bus-width = <8>;
	vmmc-supply = <&v3v3>;
	vqmmc-supply = <&vdd>;
	/* USER CODE END sdmmc2 */
};

&spi5{
	pinctrl-names = "default", "sleep";
	pinctrl-0 = <&spi5_pins_mx>;
	pinctrl-1 = <&spi5_sleep_pins_mx>;
	status = "disabled";

	/* USER CODE BEGIN spi5 */
	/* USER CODE END spi5 */
};

&tamp{
	status = "okay";

	/* USER CODE BEGIN tamp */
	/* USER CODE END tamp */
};

&timers13{
	status = "okay";

	/* USER CODE BEGIN timers13 */
	/* USER CODE END timers13 */

	pwm13:pwm{
		pinctrl-names = "default", "sleep";
		pinctrl-0 = <&tim13_pwm_pins_mx>;
		pinctrl-1 = <&tim13_pwm_sleep_pins_mx>;
		status = "okay";
		#pwm-cells = <2>;
		/* USER CODE BEGIN timers13_pwm */
		/* USER CODE END timers13_pwm */
	};
};
//&timers13{
//	status = "okay";
//
//	/* USER CODE BEGIN timers13 */
//	/* USER CODE END timers13 */
//
//	pwm{
//		pinctrl-names = "default", "sleep";
//		pinctrl-0 = <&tim13_pwm_pins_mx>;
//		pinctrl-1 = <&tim13_pwm_sleep_pins_mx>;
//		status = "okay";
//		/* USER CODE BEGIN timers13_pwm */
//		/* USER CODE END timers13_pwm */
//	};
//};

&timers2{
	status = "okay";

	/* USER CODE BEGIN timers2 */
	/* USER CODE END timers2 */

	pwm{
		pinctrl-names = "default", "sleep";
		pinctrl-0 = <&tim2_pwm_pins_mx>;
		pinctrl-1 = <&tim2_pwm_sleep_pins_mx>;
		status = "okay";

		/* USER CODE BEGIN timers2_pwm */
		/* USER CODE END timers2_pwm */
	};
};

&timers3{
	status = "okay";

	/* USER CODE BEGIN timers3 */
	/* USER CODE END timers3 */

	pwm{
		pinctrl-names = "default", "sleep";
		pinctrl-0 = <&tim3_pwm_pins_mx>;
		pinctrl-1 = <&tim3_pwm_sleep_pins_mx>;
		status = "okay";

		/* USER CODE BEGIN timers3_pwm */
		/* USER CODE END timers3_pwm */
	};
};

&timers4{
	status = "okay";

	/* USER CODE BEGIN timers4 */
	/* USER CODE END timers4 */

	pwm{
		pinctrl-names = "default", "sleep";
		pinctrl-0 = <&tim4_pwm_pins_mx>;
		pinctrl-1 = <&tim4_pwm_sleep_pins_mx>;
		status = "okay";

		/* USER CODE BEGIN timers4_pwm */
		/* USER CODE END timers4_pwm */
	};
};

&uart4{
	u-boot,dm-pre-reloc;
	pinctrl-names = "default", "sleep";
	pinctrl-0 = <&uart4_pins_mx>;
	pinctrl-1 = <&uart4_sleep_pins_mx>;
	status = "okay";

	/* USER CODE BEGIN uart4 */
	/delete-property/ dmas;
	/delete-property/ dma-names;
	/* USER CODE END uart4 */
};

&uart5{
	pinctrl-names = "default", "sleep";
	pinctrl-0 = <&uart5_pins_mx>;
	pinctrl-1 = <&uart5_sleep_pins_mx>;
	status = "disabled";

	/* USER CODE BEGIN uart5 */
	/* USER CODE END uart5 */
};

&uart7{
	pinctrl-names = "default", "sleep";
	pinctrl-0 = <&uart7_pins_mx>;
	pinctrl-1 = <&uart7_sleep_pins_mx>;
	status = "okay";

	/* USER CODE BEGIN uart7 */
	/* USER CODE END uart7 */
};


&usbphyc{
        u-boot,dm-pre-reloc;
        status = "okay";

        /* USER CODE BEGIN usbphyc */
        /* USER CODE END usbphyc */
};

&usbphyc_port0{
        u-boot,dm-pre-reloc;
        status = "okay";

        /* USER CODE BEGIN usbphyc_port0 */
        phy-supply = <&vdd_usb>;
        st,phy-tuning = <&usb_phy_tuning>;

        connector{
                compatible = "usb-a-connector";
                vbus-supply = <&v3v3>;
        };
        /* USER CODE END usbphyc_port0 */
};

&usbphyc_port1{
        u-boot,dm-pre-reloc;
        status = "okay";

        /* USER CODE BEGIN usbphyc_port1 */
        phy-supply = <&vdd_usb>;
        st,phy-tuning = <&usb_phy_tuning>;
        /* USER CODE END usbphyc_port1 */
};

&usbh_ehci{
	status = "okay";

	/* USER CODE BEGIN usbh_ehci */
	phys = <&usbphyc_port0>, <&usbphyc_port1 1>;
	phy-names = "usb", "usb";
	/* USER CODE END usbh_ehci */
};

&usbh_ohci{
	status = "okay";

	/* USER CODE BEGIN usbh_ohci */
	phys = <&usbphyc_port0>, <&usbphyc_port1 1>;
	phy-names = "usb", "usb";
	/* USER CODE END usbh_ohci */
};

/* USER CODE BEGIN addons */

&cpu0{
	cpu-supply = <&vddcore>;
};

&cpu1{
	cpu-supply = <&vddcore>;
};

&sram{

	dma_pool:dma_pool@0{
		reg = <0x50000 0x10000>;
		pool;
	};
};

&adc {
	status = "disabled";
};

&pinctrl{
};

/* USER CODE END addons */
